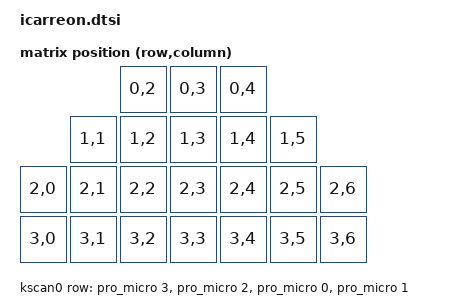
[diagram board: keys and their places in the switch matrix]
#include <dt-bindings/zmk/matrix_transform.h>

/ {
    chosen {
        zmk,kscan = &kscan0;                  // Keyboard scan driver
        zmk,matrix_transform = &default_transform;  // Matrix layout
    };

    // Key matrix transform (adjust rows/columns to match your PCB)
    default_transform: keymap_transform_0 {
        compatible = "zmk,matrix-transform";
        columns = <7>;  // Number of columns in your matrix
        rows = <4>;      // Number of rows in your matrix
        map = <
            0        0        RC(0,2)  RC(0,3)  RC(0,4)  0        0  // Row 0
            0        RC(1,1)  RC(1,2)  RC(1,3)  RC(1,4)  RC(1,5)  0  // Row 1
            RC(2,0)  RC(2,1)  RC(2,2)  RC(2,3)  RC(2,4)  RC(2,5)  RC(2,6)    // Row 2
            RC(3,0)  RC(3,1)  RC(3,2)  RC(3,3)  RC(3,4)  RC(3,5)  RC(3,6)    // Row 3
        >;
    };

    // Keyboard scan configuration (GPIO pins for rows/columns)
     kscan0: kscan {
        compatible = "zmk,kscan-gpio-matrix";
        wakeup-source;
        diode-direction = "col2row";
        row-gpios
            = <&pro_micro 3 (GPIO_ACTIVE_HIGH | GPIO_PULL_DOWN)> // Row A from the schematic file
            , <&pro_micro 2 (GPIO_ACTIVE_HIGH | GPIO_PULL_DOWN)> // Row B from the schematic file
            , <&pro_micro 0 (GPIO_ACTIVE_HIGH | GPIO_PULL_DOWN)> // Row C from the schematic file
            , <&pro_micro 1 (GPIO_ACTIVE_HIGH | GPIO_PULL_DOWN)> // Row D from the schematic file
            ;
     }
};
